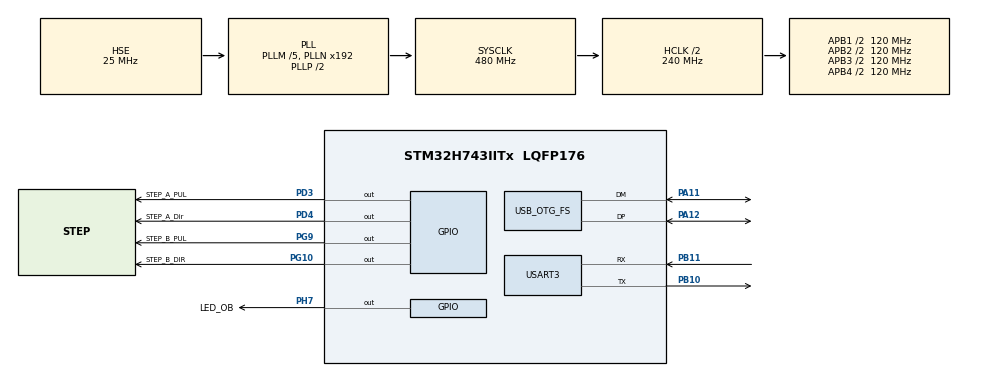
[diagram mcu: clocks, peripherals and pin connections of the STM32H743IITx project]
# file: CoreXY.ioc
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CORTEX_M7.default_mode_Activation=1
Mcu.Family=STM32H7
Mcu.Name=STM32H743IITx
Mcu.Package=LQFP176
NVIC.OTG_FS_IRQn=true\:0\:0\:false\:false\:true\:false\:true\:true
NVIC.PriorityGroup=NVIC_PRIORITYGROUP_4
NVIC.TIM2_IRQn=true\:0\:0\:false\:false\:true\:true\:true\:true
PA11.Mode=Device_Only
PA11.Signal=USB_OTG_FS_DM
PA12.Mode=Device_Only
PA12.Signal=USB_OTG_FS_DP
PA13\ (JTMS/SWDIO).Mode=Serial_Wire
PA13\ (JTMS/SWDIO).Signal=DEBUG_JTMS-SWDIO
PA14\ (JTCK/SWCLK).Mode=Serial_Wire
PA14\ (JTCK/SWCLK).Signal=DEBUG_JTCK-SWCLK
PB10.Mode=Asynchronous
PB10.Signal=USART3_TX
PB11.Mode=Asynchronous
PB11.Signal=USART3_RX
PD3.GPIO_Label=STEP_A_PUL
PD3.Signal=GPIO_Output
PD4.GPIO_Label=STEP_A_Dir
PD4.Signal=GPIO_Output
PG10.GPIO_Label=STEP_B_DIR
PG10.Signal=GPIO_Output
PG9.GPIO_Label=STEP_B_PUL
PG9.Signal=GPIO_Output
PH0-OSC_IN\ (PH0).Mode=HSE-External-Oscillator
PH0-OSC_IN\ (PH0).Signal=RCC_OSC_IN
PH1-OSC_OUT\ (PH1).Mode=HSE-External-Oscillator
PH1-OSC_OUT\ (PH1).Signal=RCC_OSC_OUT
PH7.GPIO_Label=LED_OB
PH7.Signal=GPIO_Output
ProjectManager.HeapSize=0x200
ProjectManager.StackSize=0x400
ProjectManager.TargetToolchain=CMake
RCC.ADCFreq_Value=50390625
RCC.APB1Freq_Value=120000000
RCC.APB2Freq_Value=120000000
RCC.APB3Freq_Value=120000000
RCC.APB4Freq_Value=120000000
RCC.CortexFreq_Value=480000000
RCC.D1PPRE=RCC_APB3_DIV2
RCC.D2PPRE1=RCC_APB1_DIV2
RCC.D2PPRE2=RCC_APB2_DIV2
RCC.D3PPRE=RCC_APB4_DIV2
RCC.DIVM1=5
RCC.DIVN1=192
RCC.DIVQ1=20
RCC.HCLKFreq_Value=240000000
RCC.HPRE=RCC_HCLK_DIV2
RCC.PLL2FRACN=0
RCC.PLL3FRACN=0
RCC.PLLFRACN=0
RCC.SYSCLKFreq_VALUE=480000000
RCC.SYSCLKSource=RCC_SYSCLKSOURCE_PLLCLK
RCC.USBFreq_Value=48000000
TIM2.AutoReloadPreload=TIM_AUTORELOAD_PRELOAD_ENABLE
TIM2.Period=1000
TIM2.Prescaler=239
USART3.FIFOMode=FIFOMODE_ENABLE
USART3.VirtualMode-Asynchronous=VM_ASYNC
USB_DEVICE.CLASS_NAME_FS=CDC
USB_DEVICE.VirtualMode-CDC_FS=Cdc
USB_DEVICE.VirtualModeFS=Cdc_FS
USB_OTG_FS.VirtualMode=Device_Only
VP_MEMORYMAP_VS_MEMORYMAP.Mode=CurAppReg
VP_TIM2_VS_ClockSourceINT.Mode=Internal
VP_USB_DEVICE_VS_USB_DEVICE_CDC_FS.Mode=CDC_FS
board=custom

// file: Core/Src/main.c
/* USER CODE BEGIN Header */
/**
  ******************************************************************************
  * @file           : main.c
  * @brief          : Main program body
  ******************************************************************************
  * @attention
  *
  * Copyright (c) 2026 STMicroelectronics.
  * All rights reserved.
  *
  * This software is licensed under terms that can be found in the LICENSE file
  * in the root directory of this software component.
  * If no LICENSE file comes with this software, it is provided AS-IS.
  *
  ******************************************************************************
  */
/* USER CODE END Header */
#include "main.h"
#include "tim.h"
#include "usart.h"
#include "usb_device.h"
#include "gpio.h"

/* USER CODE BEGIN Includes */
#include "tmc2209.h"
#include "stepper.h"
#include "gcode.h"
#include "gcode_job.h"
#include "comms.h"
/* USER CODE END Includes */

/* USER CODE BEGIN PD */
#define MICROSTEPS_XY         16U
/* USER CODE END PD */

/* USER CODE BEGIN PV */
/* Result of tmc2209_init: [0] = motor A (addr 0), [1] = motor B (addr 1) */
volatile tmc2209_status_t tmc_status[2];

/* Test hook. Nothing moves on its own: set step_test_run from the debugger
 * (or tools/flash_run.sh). Distance in whole mm, speed in mm/s. */
volatile uint8_t  step_test_run = 0;         /* one straight move */
volatile uint8_t  step_test_split = 0;       /* same distance, 20 queued segments */
volatile uint32_t step_test_ms = 0;          /* how long the last test took */

/* G-code job baked into flash by tools/gcode_to_header.py */
volatile uint8_t  gcode_job_run = 0;
volatile uint32_t gcode_job_line = 0;        /* line being run */
volatile int32_t  gcode_job_errors = 0;
volatile gcode_status_t gcode_job_last = GCODE_OK;
volatile int32_t  step_test_dx = 20;         /* mm */
volatile int32_t  step_test_dy = 0;          /* mm */
volatile int32_t  step_test_speed = 20;      /* mm/s */
volatile int32_t  step_test_accel = 2000;    /* mm/s^2 */
volatile stepper_status_t step_test_status = STEPPER_OK;
/* USER CODE END PV */

void SystemClock_Config(void);
static void MPU_Config(void);

/* USER CODE BEGIN 0 */
static void tmc_setup(void)
{
  static const uint8_t addr[2] = { TMC2209_ADDR_A, TMC2209_ADDR_B };

  for (uint8_t i = 0; i < 2; i++)
    tmc_status[i] = tmc2209_init(addr[i], MICROSTEPS_XY);
}
/* USER CODE END 0 */

int main(void)
{

  /* MPU Configuration--------------------------------------------------------*/
  MPU_Config();

  /* MCU Configuration--------------------------------------------------------*/

  /* Reset of all peripherals, Initializes the Flash interface and the Systick. */
  HAL_Init();

  /* Configure the system clock */
  SystemClock_Config();

  /* Initialize all configured peripherals */
  MX_GPIO_Init();
  MX_USART3_UART_Init();
  MX_TIM2_Init();
  MX_USB_DEVICE_Init();
  /* USER CODE BEGIN 2 */
  HAL_Delay(100);   /* let the drivers power up (VM must be on) */
  tmc_setup();
  stepper_init();
  gcode_init();
  comms_init();
  /* USER CODE END 2 */

  /* Infinite loop */
  while (1)
  {

    /* USER CODE BEGIN 3 */
    comms_task();

    if (step_test_run)
    {
      step_test_run = 0;
      stepper_set_accel((float)step_test_accel);
      uint32_t t0 = HAL_GetTick();
      step_test_status = stepper_move_xy((float)step_test_dx,
                                         (float)step_test_dy,
                                         (float)step_test_speed);
      stepper_wait();
      step_test_ms = HAL_GetTick() - t0;
    }

    /* Run the G-code job stored in flash, line by line. */
    if (gcode_job_run)
    {
      gcode_job_run = 0;
      gcode_job_errors = 0;
      stepper_set_accel((float)step_test_accel);
      uint32_t t0 = HAL_GetTick();

      for (uint32_t i = 0; i < GCODE_JOB_LINES; i++)
      {
        gcode_job_line = i;
        gcode_job_last = gcode_line(gcode_job[i]);
        if (gcode_job_last != GCODE_OK && gcode_job_last != GCODE_EMPTY)
          gcode_job_errors++;
      }
      stepper_wait();
      step_test_ms = HAL_GetTick() - t0;
    }

    /* Same distance as step_test_run, but fed as 20 short segments. With
     * lookahead the two should take the same time. */
    if (step_test_split)
    {
      step_test_split = 0;
      stepper_set_accel((float)step_test_accel);
      const uint8_t parts = 20;
      float sx = (float)step_test_dx / (float)parts;
      float sy = (float)step_test_dy / (float)parts;
      uint32_t t0 = HAL_GetTick();

      for (uint8_t i = 0; i < parts; i++)
      {
        /* the queue holds 15, so wait for room instead of dropping moves */
        while (stepper_queue_free() == 0)
        {
        }
        step_test_status = stepper_move_xy(sx, sy, (float)step_test_speed);
        if (step_test_status != STEPPER_OK)
          break;
      }
      stepper_wait();
      step_test_ms = HAL_GetTick() - t0;
    }
  }
  /* USER CODE END 3 */
}

void SystemClock_Config(void)
{
  RCC_OscInitTypeDef RCC_OscInitStruct = {0};
  RCC_ClkInitTypeDef RCC_ClkInitStruct = {0};

  /** Supply configuration update enable
  */
  HAL_PWREx_ConfigSupply(PWR_LDO_SUPPLY);

  /** Configure the main internal regulator output voltage
  */
  __HAL_PWR_VOLTAGESCALING_CONFIG(PWR_REGULATOR_VOLTAGE_SCALE0);

  while(!__HAL_PWR_GET_FLAG(PWR_FLAG_VOSRDY)) {}

  /** Initializes the RCC Oscillators according to the specified parameters
  * in the RCC_OscInitTypeDef structure.
  */
  RCC_OscInitStruct.OscillatorType = RCC_OSCILLATORTYPE_HSE;
  RCC_OscInitStruct.HSEState = RCC_HSE_ON;
  RCC_OscInitStruct.PLL.PLLState = RCC_PLL_ON;
  RCC_OscInitStruct.PLL.PLLSource = RCC_PLLSOURCE_HSE;
  RCC_OscInitStruct.PLL.PLLM = 5;
  RCC_OscInitStruct.PLL.PLLN = 192;
  RCC_OscInitStruct.PLL.PLLP = 2;
  RCC_OscInitStruct.PLL.PLLQ = 20;
  RCC_OscInitStruct.PLL.PLLR = 2;
  RCC_OscInitStruct.PLL.PLLRGE = RCC_PLL1VCIRANGE_2;
  RCC_OscInitStruct.PLL.PLLVCOSEL = RCC_PLL1VCOWIDE;
  RCC_OscInitStruct.PLL.PLLFRACN = 0;
  if (HAL_RCC_OscConfig(&RCC_OscInitStruct) != HAL_OK)
  {
    Error_Handler();
  }

  /** Initializes the CPU, AHB and APB buses clocks
  */
  RCC_ClkInitStruct.ClockType = RCC_CLOCKTYPE_HCLK|RCC_CLOCKTYPE_SYSCLK
                              |RCC_CLOCKTYPE_PCLK1|RCC_CLOCKTYPE_PCLK2
                              |RCC_CLOCKTYPE_D3PCLK1|RCC_CLOCKTYPE_D1PCLK1;
  RCC_ClkInitStruct.SYSCLKSource = RCC_SYSCLKSOURCE_PLLCLK;
  RCC_ClkInitStruct.SYSCLKDivider = RCC_SYSCLK_DIV1;
  RCC_ClkInitStruct.AHBCLKDivider = RCC_HCLK_DIV2;
  RCC_ClkInitStruct.APB3CLKDivider = RCC_APB3_DIV2;
  RCC_ClkInitStruct.APB1CLKDivider = RCC_APB1_DIV2;
  RCC_ClkInitStruct.APB2CLKDivider = RCC_APB2_DIV2;
  RCC_ClkInitStruct.APB4CLKDivider = RCC_APB4_DIV2;

  if (HAL_RCC_ClockConfig(&RCC_ClkInitStruct, FLASH_LATENCY_4) != HAL_OK)
  {
    Error_Handler();
  }
}

 /* MPU Configuration */

void MPU_Config(void)
{
  MPU_Region_InitTypeDef MPU_InitStruct = {0};

  /* Disables the MPU */
  HAL_MPU_Disable();

  /** Initializes and configures the Region and the memory to be protected
  */
  MPU_InitStruct.Enable = MPU_REGION_ENABLE;
  MPU_InitStruct.Number = MPU_REGION_NUMBER0;
  MPU_InitStruct.BaseAddress = 0x0;
  MPU_InitStruct.Size = MPU_REGION_SIZE_4GB;
  MPU_InitStruct.SubRegionDisable = 0x87;
  MPU_InitStruct.TypeExtField = MPU_TEX_LEVEL0;
  MPU_InitStruct.AccessPermission = MPU_REGION_NO_ACCESS;
  MPU_InitStruct.DisableExec = MPU_INSTRUCTION_ACCESS_DISABLE;
  MPU_InitStruct.IsShareable = MPU_ACCESS_SHAREABLE;
  MPU_InitStruct.IsCacheable = MPU_ACCESS_NOT_CACHEABLE;
  MPU_InitStruct.IsBufferable = MPU_ACCESS_NOT_BUFFERABLE;

  HAL_MPU_ConfigRegion(&MPU_InitStruct);
  /* Enables the MPU */
  HAL_MPU_Enable(MPU_PRIVILEGED_DEFAULT);

}

void Error_Handler(void)
{
  __disable_irq();
  while (1)
  {
  }
}
